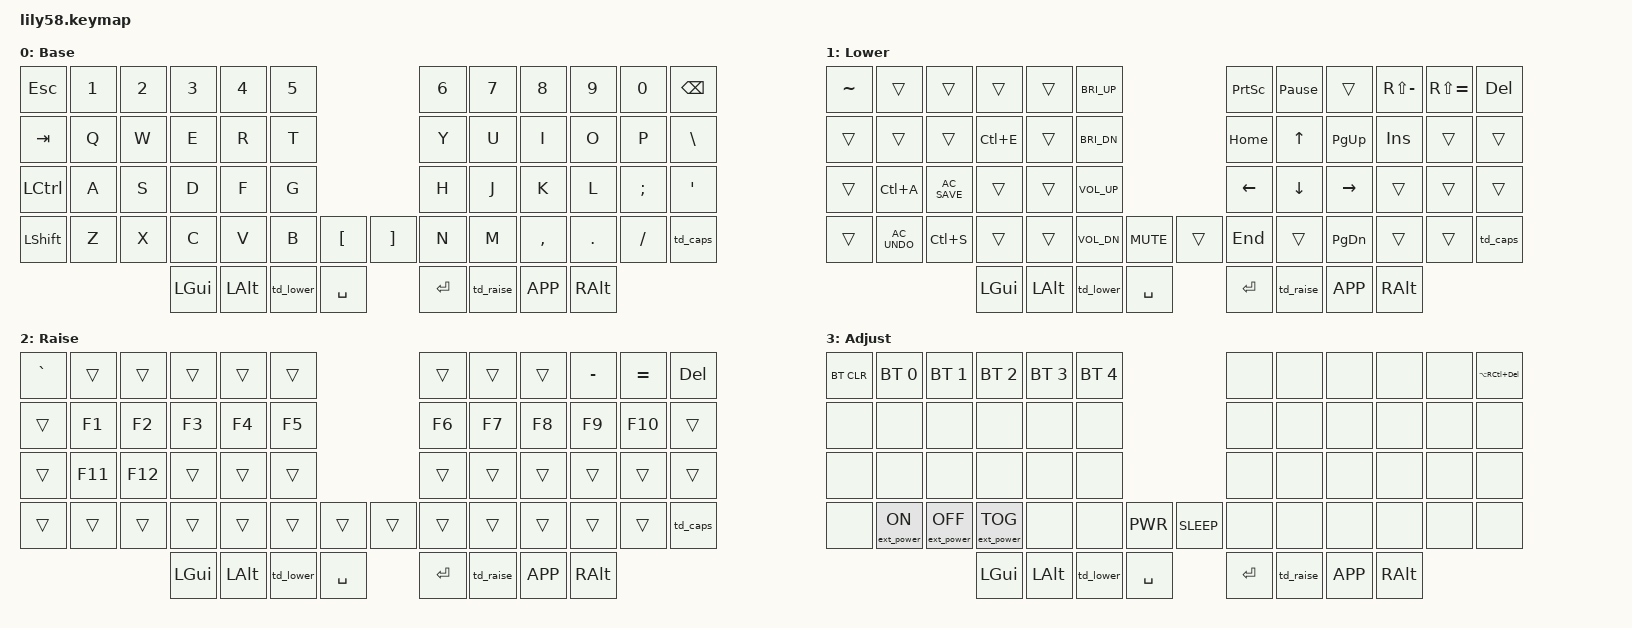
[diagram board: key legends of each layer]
/*
 * Copyright (c) 2020 The ZMK Contributors
 *
 * SPDX-License-Identifier: MIT
 */

#include <behaviors.dtsi>
#include <dt-bindings/zmk/keys.h>
#include <dt-bindings/zmk/bt.h>
#include <dt-bindings/zmk/ext_power.h>


#define BASE 0
#define LOWER   1
#define RAISE   2
#define ADJUST  3

/ {
    behaviors {
        td_caps: tap_dance_caps {
            compatible = "zmk,behavior-tap-dance";
            label = "TAP_DANCE_CAPS";
            #binding-cells = <0>;
            tapping-term-ms = <200>;
            bindings = <&kp RSHIFT>, <&kp CAPSLOCK>;
        };

        td_raise: tap_dance_raise {
            compatible = "zmk,behavior-tap-dance";
            label = "TAP_DANCE_RAISE";
            #binding-cells = <0>;
            tapping-term-ms = <200>;
            bindings = <&mo RAISE>, <&tog RAISE>;
        };
        td_lower: tap_dance_lower {
            compatible = "zmk,behavior-tap-dance";
            label = "TAP_DANCE_LOWER";
            #binding-cells = <0>;
            tapping-term-ms = <200>;
            bindings = <&mo LOWER>, <&tog LOWER>;
        };
    };

    conditional_layers {
        compatible = "zmk,conditional-layers";
        tri_layer {
            if-layers = <LOWER RAISE>;
            then-layer = <ADJUST>;
        };
    };

	keymap {
		compatible = "zmk,keymap";

		base_layer {
// ------------------------------------------------------------------------------------------------------------
// |  ESC  |  1  |  2  |  3   |  4   |  5   |                   |  6   |  7    |  8    |  9   |   0   | BSPC  |
// |  TAB  |  Q  |  W  |  E   |  R   |  T   |                   |  Y   |  U    |  I    |  O   |   P   |   \   |
// |  CTRL |  A  |  S  |  D   |  F   |  G   |                   |  H   |  J    |  K    |  L   |   ;   |   '   |
// | SHIFT |  Z  |  X  |  C   |  V   |  B   |   "["  |  |  "]"  |  N   |  M    |  ,    |  .   |   /   | SHIFT/CAPS |
//                     | GUI  | LALT | LOWER|  SPACE |  | ENTER | RAISE| MENU  | RALT   |
            label = "Base";
			bindings = <
&kp ESC   &kp N1 &kp N2 &kp N3   &kp N4   &kp N5                     &kp N6 &kp N7   &kp N8    &kp N9  &kp N0   &kp BSPC
&kp TAB   &kp Q  &kp W  &kp E    &kp R    &kp T                      &kp Y  &kp U    &kp I     &kp O   &kp P    &kp BSLH
&kp LCTRL &kp A  &kp S  &kp D    &kp F    &kp G                      &kp H  &kp J    &kp K     &kp L   &kp SEMI &kp SQT
&kp LSHFT &kp Z  &kp X  &kp C    &kp V    &kp B  &kp LBKT   &kp RBKT &kp N  &kp M    &kp COMMA &kp DOT &kp FSLH &td_caps
                        &kp LGUI &kp LALT &td_lower  &kp SPACE  &kp RET  &td_raise  &kp K_APP &kp RALT
			>;

		};

		lower_layer {
// ------------------------------------------------------------------------------------------------------------
// |   ~   |      |      |      |      | BRI+ |                      | PSCR |PAUSE |      |   _  |   +  | DEL  |
// |       |      |      |CTRL+E|      | BRI- |                      | Home |  Up  | PgUp |  INS |      |      |
// |       |CTRL+A| SAVE |      |      | VOl+                        | Left | Down | Right|      |      |      |
// |       | UNDO |      |CTRL+C|CTRL+V| VOL- | MUTE  |      |       |  End |      | PgDn |      |      |RShift/CAPS|
//                       | LGUI | LAlt |LOWER | Space /      \Enter  |RAISE | Menu | RAlt |
			label = "Lower";
            bindings = <
&kp TILDE  &trans         &trans         &trans     &trans     &kp C_BRI_UP                        &kp PSCRN   &kp PAUSE_BREAK  &trans     &kp RS(MINUS) &kp RS(EQUAL)  &kp DEL
&trans     &trans         &trans         &kp LC(E)  &trans     &kp C_BRI_DN                        &kp HOME    &kp UP           &kp PG_UP  &kp INS          &trans         &trans
&trans     &kp LC(A)      &kp C_AC_SAVE  &trans     &trans     &kp C_VOL_UP                        &kp LEFT    &kp DOWN         &kp RIGHT  &trans           &trans         &trans
&trans     &kp C_AC_UNDO  &kp LC(S)      &trans     &trans     &kp C_VOL_DN  &kp C_MUTE   &trans   &kp END     &trans           &kp PG_DN  &trans           &trans         &td_caps
                                         &kp LGUI    &kp LALT  &td_lower         &kp SPACE    &kp RET  &td_raise       &kp K_APP        &kp RALT
			>;

		};

		raise_layer {	
// ------------------------------------------------------------------------------------------------------------
// |   `   |      |      |      |      |      |                      |      |      |      |   -  |  =   | DEL  |
// |       |  F1  |  F2  |  F3  |  F4  |  F5  |                      |  F6  |  F7  |  F8  |  F9  | F10  |      |
// |       |  F11 |  F12 |      |      |      |                      |      |      |      |      |      |      |
// |       |      |      |      |      |      |       |      |       |      |      |      |      |      |RShift/CAPS|
//                       | LGUI | LAlt |LOWER | Space /      \ Enter |RAISE | Menu | RAlt |
			label = "Raise";
            bindings = <
&kp GRAVE &trans   &trans   &trans   &trans   &trans                       &trans   &trans    &trans   &kp MINUS &kp EQUAL  &kp DEL
&trans    &kp F1   &kp F2   &kp F3   &kp F4   &kp F5                       &kp F6   &kp F7    &kp F8   &kp F9       &kp F10    &trans
&trans    &kp F11  &kp F12  &trans   &trans   &trans                       &trans   &trans    &trans   &trans       &trans     &trans
&trans    &trans   &trans   &trans   &trans   &trans   &trans     &trans   &trans   &trans    &trans   &trans       &trans     &td_caps
                            &kp LGUI &kp LALT &td_lower    &kp SPACE  &kp RET  &td_raise    &kp K_APP &kp RALT
			>;

		};

		adjust_layer {	
// ------------------------------------------------------------------------------------------------------------
// | BTCLR | BT1  | BT2  |  BT3 |  BT4 |  BT5 |                      |      |      |      |      |      | CTRL+ALT+DEL  |
// |       |      |      |      |      |      |                      |      |      |      |      |      |      |
// |       |      |      |      |      |      |                      |      |      |      |      |      |      |
// |       | EP_ON|EP_OFF|EP_TOG|      |      |       |      |       |      |      |      |      |      |      |
//                       | LGUI | LAlt |LOWER | Space /      \ Enter |RAISE | Menu | RAlt |
			label = "Adjust";
            bindings = <
&bt BT_CLR  &bt BT_SEL 0     &bt BT_SEL 1      &bt BT_SEL 2       &bt BT_SEL 3  &bt BT_SEL 4                         &none   &none     &none   &none &none  &kp LA(RC(DEL))
&none       &none            &none             &none              &none         &none                                &none   &none     &none   &none &none  &none
&none       &none            &none             &none              &none         &none                                &none   &none     &none   &none &none  &none
&none       &ext_power EP_ON &ext_power EP_OFF &ext_power EP_TOG  &none         &none      &kp C_PWR    &kp C_SLEEP  &none   &none     &none   &none &none  &none
                                        &kp LGUI      &kp LALT      &td_lower     &kp SPACE    &kp RET    &td_raise   &kp K_APP &kp RALT
			>;

		};
	};
};
